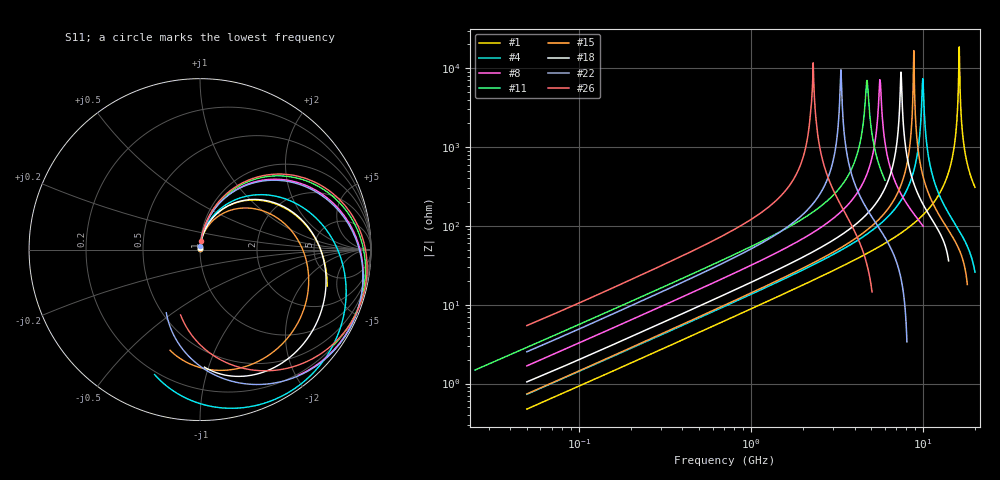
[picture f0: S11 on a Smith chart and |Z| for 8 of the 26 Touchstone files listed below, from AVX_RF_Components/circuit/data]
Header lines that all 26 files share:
!	dB	Phase	dB	Phase	dB	Phase	dB	Phase
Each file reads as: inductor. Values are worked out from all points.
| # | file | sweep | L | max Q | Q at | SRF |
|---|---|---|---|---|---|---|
| 1 | L0603SE1r2.s2p | 50 MHz to 20 GHz | 1.44 nH | 84.3 | 6.6 GHz | 16.15 GHz |
| 2 | L0603SE1r5.s2p | 50 MHz to 20 GHz | 1.37 nH | 214 | 150 MHz | 11.05 GHz |
| 3 | L0603SE1r8.s2p | 50 MHz to 20 GHz | 1.56 nH | 64 | 5 GHz | 13.45 GHz |
| 4 | L0603SE2r2.s2p | 50 MHz to 20 GHz | 2.21 nH | 46.5 | 3.55 GHz | 9.95 GHz |
| 5 | L0603SE2r7.s2p | 50 MHz to 15 GHz | 2.54 nH | 27.8 | 3.15 GHz | 9.15 GHz |
| 6 | L0603SE3r9.s2p | 50 MHz to 10 GHz | 3.41 nH | 103 | 100 MHz | 9 GHz |
| 7 | L0603SE4r7.s2p | 50 MHz to 10 GHz | 4.38 nH | 32.8 | 2 GHz | 5.8 GHz |
| 8 | L0603SE5r6.s2p | 50 MHz to 10 GHz | 5.1 nH | 34.1 | 1.95 GHz | 5.6 GHz |
| 9 | L0603SE6r8.s2p | 50 MHz to 8 GHz | 6.9 nH | 37.9 | 2.15 GHz | 6.05 GHz |
| 10 | L0603SE8r2.s2p | 25 MHz to 6 GHz | 8.02 nH | 51.9 | 50 MHz | 5.475 GHz |
| 11 | L0603SE100.s2p | 25 MHz to 6 GHz | 8.96 nH | 27.8 | 1.425 GHz | 4.7 GHz |
| 12 | L0805SE1r2.s2p | 25 MHz to 6 GHz | 1.34 nH | 145 | 5.1 GHz | - |
| 13 | L0805SE1r5.s2p | 25 MHz to 6 GHz | 1.62 nH | 135 | 5.9 GHz | - |
| 14 | L0805SE1r8.s2p | 50 MHz to 20.05 GHz | 1.83 nH | 161 | 5.1 GHz | 12.7 GHz |
| 15 | L0805SE2r2.s2p | 50 MHz to 18.05 GHz | 2.26 nH | 93.1 | 3.65 GHz | 8.78 GHz |
| 16 | L0805SE2r7.s2p | 50 MHz to 18.05 GHz | 2.56 nH | 226 | 140 MHz | 8.105 GHz |
| 17 | L0805SE3r3.s2p | 50 MHz to 15.05 GHz | 2.86 nH | 66.5 | 3.2 GHz | 7.812 GHz |
| 18 | L0805SE3r9.s2p | 50 MHz to 14.05 GHz | 3.12 nH | 46.4 | 3.025 GHz | 7.435 GHz |
| 19 | L0805SE4r7.s2p | 50 MHz to 12.05 GHz | 4.74 nH | 102 | 2.12 GHz | 5 GHz |
| 20 | L0805SE5r6.s2p | 50 MHz to 10.05 GHz | 5.27 nH | 50.1 | 1.3 GHz | 4.6 GHz |
| 21 | L0805SE6r8.s2p | 50 MHz to 10.05 GHz | 6.25 nH | 47.4 | 1.4 GHz | 3.9 GHz |
| 22 | L0805SE8r2.s2p | 50 MHz to 8.05 GHz | 7.72 nH | 38.3 | 1.05 GHz | 3.31 GHz |
| 23 | L0805SE100.s2p | 50 MHz to 6.05 GHz | 9.48 nH | 39 | 950 MHz | 2.75 GHz |
| 24 | L0805SE120.s2p | 50 MHz to 6.05 GHz | 10.9 nH | 32.5 | 845 MHz | 2.45 GHz |
| 25 | L0805SE150.s2p | 50 MHz to 5.05 GHz | 13.8 nH | 30 | 650 MHz | 2.775 GHz |
| 26 | L0805SE180.s2p | 50 MHz to 5.05 GHz | 16.6 nH | 33.4 | 550 MHz | 2.275 GHz |
